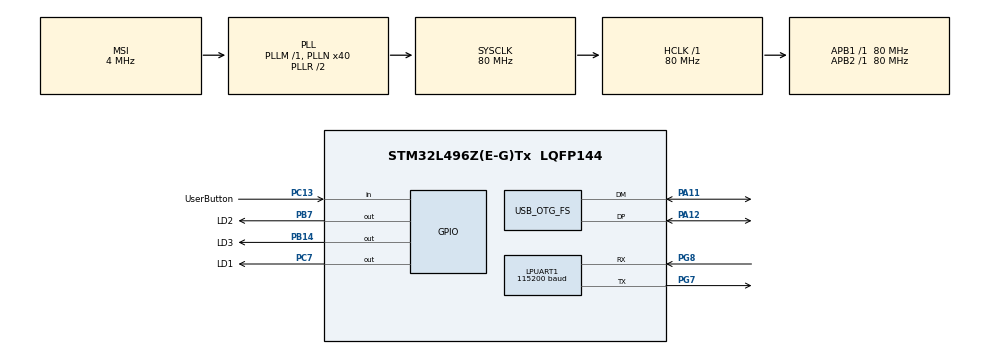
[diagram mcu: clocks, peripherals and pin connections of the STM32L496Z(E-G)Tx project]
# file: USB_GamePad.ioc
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LPUART1.AutoBaudRateEnableParam=UART_ADVFEATURE_AUTOBAUDRATE_DISABLE
LPUART1.BaudRate=115200
LPUART1.WordLength=UART_WORDLENGTH_8B
Mcu.Family=STM32L4
Mcu.Name=STM32L496Z(E-G)Tx
Mcu.Package=LQFP144
NVIC.OTG_FS_IRQn=true\:0\:0\:false\:false\:true\:false
NVIC.PriorityGroup=NVIC_PRIORITYGROUP_4
PA11.Mode=Device_Only
PA11.Signal=USB_OTG_FS_DM
PA12.Mode=Device_Only
PA12.Signal=USB_OTG_FS_DP
PA13\ (JTMS/SWDIO).Mode=Serial_Wire
PA13\ (JTMS/SWDIO).Signal=SYS_JTMS-SWDIO
PA14\ (JTCK/SWCLK).Mode=Serial_Wire
PA14\ (JTCK/SWCLK).Signal=SYS_JTCK-SWCLK
PB14.GPIO_Label=LD3
PB14.Signal=GPIO_Output
PB7.GPIO_Label=LD2
PB7.Signal=GPIO_Output
PC13.GPIO_Label=UserButton
PC13.Signal=GPIO_Input
PC7.GPIO_Label=LD1
PC7.Signal=GPIO_Output
PG7.Mode=Asynchronous
PG7.Signal=LPUART1_TX
PG8.Mode=Asynchronous
PG8.Signal=LPUART1_RX
PH0-OSC_IN\ (PH0).Mode=HSE-External-Clock-Source
PH0-OSC_IN\ (PH0).Signal=RCC_OSC_IN
ProjectManager.HeapSize=0x2000
ProjectManager.StackSize=0x2000
ProjectManager.TargetToolchain=MDK-ARM V5
RCC.ADCFreq_Value=48000000
RCC.AHBFreq_Value=80000000
RCC.APB1Freq_Value=80000000
RCC.APB1TimFreq_Value=80000000
RCC.APB2Freq_Value=80000000
RCC.APB2TimFreq_Value=80000000
RCC.CortexFreq_Value=80000000
RCC.HCLKFreq_Value=80000000
RCC.HSE_VALUE=8000000
RCC.HSI48_VALUE=48000000
RCC.HSI_VALUE=16000000
RCC.LSE_VALUE=32768
RCC.MSI_VALUE=4000000
RCC.PLLN=40
RCC.PLLSAI1N=24
RCC.SYSCLKFreq_VALUE=80000000
RCC.SYSCLKSource=RCC_SYSCLKSOURCE_PLLCLK
RCC.USBFreq_Value=48000000
RCC.VCOOutputFreq_Value=160000000
USB_DEVICE.CLASS_NAME_FS=CUSTOMHID
USB_DEVICE.VirtualMode=CustomHid
USB_DEVICE.VirtualModeFS=Custom_Hid_FS
USB_OTG_FS.VirtualMode=Device_Only
VP_USB_DEVICE_VS_USB_DEVICE_CUSTOM_HID_FS.Mode=CUSTOM_HID_FS
board=custom

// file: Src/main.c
/**
  ******************************************************************************
  * @file           : main.c
  * @brief          : Main program body
  ******************************************************************************
  * This notice applies to any and all portions of this file
  * that are not between comment pairs USER CODE BEGIN and
  * USER CODE END. Other portions of this file, whether
  * inserted by the user or by software development tools
  * are owned by their respective copyright owners.
  *
  * Copyright (c) 2018 STMicroelectronics International N.V.
  * All rights reserved.
  *
  * Redistribution and use in source and binary forms, with or without
  * modification, are permitted, provided that the following conditions are met:
  *
  * 1. Redistribution of source code must retain the above copyright notice,
  *    this list of conditions and the following disclaimer.
  * 2. Redistributions in binary form must reproduce the above copyright notice,
  *    this list of conditions and the following disclaimer in the documentation
  *    and/or other materials provided with the distribution.
  * 3. Neither the name of STMicroelectronics nor the names of other
  *    contributors to this software may be used to endorse or promote products
  *    derived from this software without specific written permission.
  * 4. This software, including modifications and/or derivative works of this
  *    software, must execute solely and exclusively on microcontroller or
  *    microprocessor devices manufactured by or for STMicroelectronics.
  * 5. Redistribution and use of this software other than as permitted under
  *    this license is void and will automatically terminate your rights under
  *    this license.
  *
  * THIS SOFTWARE IS PROVIDED BY STMICROELECTRONICS AND CONTRIBUTORS "AS IS"
  * AND ANY EXPRESS, IMPLIED OR STATUTORY WARRANTIES, INCLUDING, BUT NOT
  * LIMITED TO, THE IMPLIED WARRANTIES OF MERCHANTABILITY, FITNESS FOR A
  * PARTICULAR PURPOSE AND NON-INFRINGEMENT OF THIRD PARTY INTELLECTUAL PROPERTY
  * RIGHTS ARE DISCLAIMED TO THE FULLEST EXTENT PERMITTED BY LAW. IN NO EVENT
  * SHALL STMICROELECTRONICS OR CONTRIBUTORS BE LIABLE FOR ANY DIRECT, INDIRECT,
  * INCIDENTAL, SPECIAL, EXEMPLARY, OR CONSEQUENTIAL DAMAGES (INCLUDING, BUT NOT
  * LIMITED TO, PROCUREMENT OF SUBSTITUTE GOODS OR SERVICES; LOSS OF USE, DATA,
  * OR PROFITS; OR BUSINESS INTERRUPTION) HOWEVER CAUSED AND ON ANY THEORY OF
  * LIABILITY, WHETHER IN CONTRACT, STRICT LIABILITY, OR TORT (INCLUDING
  * NEGLIGENCE OR OTHERWISE) ARISING IN ANY WAY OUT OF THE USE OF THIS SOFTWARE,
  * EVEN IF ADVISED OF THE POSSIBILITY OF SUCH DAMAGE.
  *
  ******************************************************************************
  */
#include "main.h"
#include "stm32l4xx_hal.h"
#include "usart.h"
#include "usb_device.h"
#include "gpio.h"

/* USER CODE BEGIN PV */
/* Private variables ---------------------------------------------------------*/

/* USER CODE END PV */

void SystemClock_Config(void);

/* USER CODE BEGIN PFP */
/* Private function prototypes -----------------------------------------------*/

/* USER CODE END PFP */

/* USER CODE BEGIN 0 */
typedef enum {
	TM_USB_HIDDEVICE_Button_Released = 0x00, /*!< Button is not pressed */
	TM_USB_HIDDEVICE_Button_Pressed = 0x01   /*!< Button is pressed */
} TM_USB_HIDDEVICE_Button_t;
typedef struct {
	TM_USB_HIDDEVICE_Button_t Button1;  /*!< Game pad button 1 status. This parameter can be a value of @ref TM_USB_HIDDEVICE_Button_t enumeration */
	TM_USB_HIDDEVICE_Button_t Button2;  /*!< Game pad button 2 status. This parameter can be a value of @ref TM_USB_HIDDEVICE_Button_t enumeration */
	TM_USB_HIDDEVICE_Button_t Button3;  /*!< Game pad button 3 status. This parameter can be a value of @ref TM_USB_HIDDEVICE_Button_t enumeration */
	TM_USB_HIDDEVICE_Button_t Button4;  /*!< Game pad button 4 status. This parameter can be a value of @ref TM_USB_HIDDEVICE_Button_t enumeration */
	TM_USB_HIDDEVICE_Button_t Button5;  /*!< Game pad button 5 status. This parameter can be a value of @ref TM_USB_HIDDEVICE_Button_t enumeration */
	TM_USB_HIDDEVICE_Button_t Button6;  /*!< Game pad button 6 status. This parameter can be a value of @ref TM_USB_HIDDEVICE_Button_t enumeration */
	TM_USB_HIDDEVICE_Button_t Button7;  /*!< Game pad button 7 status. This parameter can be a value of @ref TM_USB_HIDDEVICE_Button_t enumeration */
	TM_USB_HIDDEVICE_Button_t Button8;  /*!< Game pad button 8 status. This parameter can be a value of @ref TM_USB_HIDDEVICE_Button_t enumeration */
	TM_USB_HIDDEVICE_Button_t Button9;  /*!< Game pad button 9 status. This parameter can be a value of @ref TM_USB_HIDDEVICE_Button_t enumeration */
	TM_USB_HIDDEVICE_Button_t Button10; /*!< Game pad button 10 status. This parameter can be a value of @ref TM_USB_HIDDEVICE_Button_t enumeration */
	TM_USB_HIDDEVICE_Button_t Button11; /*!< Game pad button 11 status. This parameter can be a value of @ref TM_USB_HIDDEVICE_Button_t enumeration */
	TM_USB_HIDDEVICE_Button_t Button12; /*!< Game pad button 12 status. This parameter can be a value of @ref TM_USB_HIDDEVICE_Button_t enumeration */

	int8_t XAxis;                   /*!< Left joystick X axis */
	int8_t YAxis;                   /*!< Left joystick Y axis */
	int8_t RotateZAxis;             /*!< Right joystick X axis */
	int8_t ZAxis;                   /*!< Right joystick Y axis */

	uint8_t Hat0;              /*!< "angle" is 0,45,90,135,180,225,270,315,-1 */
	uint8_t Hat1;
	uint8_t Hat2;
	uint8_t Hat3;

} TM_USB_HIDDEVICE_Gamepad_t;

int TM_USB_HIDDEVICE_GamepadSend(TM_USB_HIDDEVICE_Gamepad_t* Gamepad_Data)
{
	uint8_t buff[8];

	/* Buttons pressed, byte 1 */
	buff[0] = 0;
	buff[0] |= Gamepad_Data->Button1 	<< 0;	/* Bit 0 */
	buff[0] |= Gamepad_Data->Button2 	<< 1;	/* Bit 1 */
	buff[0] |= Gamepad_Data->Button3 	<< 2;	/* Bit 2 */
	buff[0] |= Gamepad_Data->Button4 	<< 3;	/* Bit 3 */
	buff[0] |= Gamepad_Data->Button5 	<< 4;	/* Bit 4 */
	buff[0] |= Gamepad_Data->Button6 	<< 5;	/* Bit 5 */
	buff[0] |= Gamepad_Data->Button7 	<< 6;	/* Bit 6 */
	buff[0] |= Gamepad_Data->Button8 	<< 7;	/* Bit 7 */

	/* Buttons pressed, byte 2 */
	buff[1] = 0;
	buff[1] |= Gamepad_Data->Button9 	  << 0;	/* Bit 0 */
	buff[1] |= Gamepad_Data->Button10 	<< 1;	/* Bit 1 */
	buff[1] |= Gamepad_Data->Button11 	<< 2;	/* Bit 2 */
	buff[1] |= Gamepad_Data->Button12 	<< 3;	/* Bit 3 */

	/* Left joystick*/
	buff[2] = Gamepad_Data->XAxis;
	buff[3] = Gamepad_Data->YAxis;

	/* Right joystick*/
	buff[4] = Gamepad_Data->ZAxis;
	buff[5] = Gamepad_Data->RotateZAxis;

	buff[6] = (Gamepad_Data->Hat1)<<4 + Gamepad_Data->Hat0;
	buff[7] = (Gamepad_Data->Hat3)<<4 + Gamepad_Data->Hat2;
	/* Send to USB gamepad data */
	USBD_CUSTOM_HID_SendReport(&hUsbDeviceFS, buff, 8);

	/* Return connected */
	return 0;
}

TM_USB_HIDDEVICE_Gamepad_t Gamepad_Data;

/*
		     |  bit7		|   bit6	 |	  bit5	|	   bit4	 |	  bit3	|	   bit2	 |   bit1	  |   bit0   |
------------------------------------------------------------------------------------------------
| byte0  |  Button8 | Button7  | Button6  |  Button5 | Button4  |  Button3 |  Button2 |  Button1 |
------------------------------------------------------------------------------------------------
| byte1  |                   Reserved                | Button12 |  Butto11 | Butto10  |  Butto9  |
------------------------------------------------------------------------------------------------
| byte2  |          XAxis                                                                        |
------------------------------------------------------------------------------------------------
| byte3  |         YAxis                                                                         |
------------------------------------------------------------------------------------------------
| byte4  |         ZAxis                                                                         |
------------------------------------------------------------------------------------------------
| byte5  |        RotateZAxis                                                                    |
------------------------------------------------------------------------------------------------
| byte6  |          |          |          |          |          |          |          |          |
------------------------------------------------------------------------------------------------
| byte7  |          |          |          |          |          |          |          |          |
------------------------------------------------------------------------------------------------
*/

/* USER CODE END 0 */

int main(void)
{

  /* MCU Configuration----------------------------------------------------------*/

  /* Reset of all peripherals, Initializes the Flash interface and the Systick. */
  HAL_Init();

  /* Configure the system clock */
  SystemClock_Config();

  /* Initialize all configured peripherals */
  MX_GPIO_Init();
  MX_LPUART1_UART_Init();
  MX_USB_DEVICE_Init();
  /* USER CODE BEGIN 2 */

	printf("\n\r UART Printf Example: retarget the C library printf function to the UART\n\r");

  /* USER CODE END 2 */

  /* Infinite loop */
  while (1)
  {

  /* USER CODE BEGIN 3 */

    //USBD_CUSTOM_HID_SendReport(&hUsbDeviceFS,  GamePad_Report, sizeof(GamePad_Report));

//		HAL_GPIO_WritePin(LD2_GPIO_Port,LD2_Pin, GPIO_PIN_SET);
//		HAL_Delay(50);
//		HAL_GPIO_WritePin(LD2_GPIO_Port,LD2_Pin, GPIO_PIN_RESET);
		HAL_Delay(500);
//		if(HAL_GPIO_ReadPin(UserButton_GPIO_Port, UserButton_Pin)==1)
//		{
//			HAL_GPIO_TogglePin(LD2_GPIO_Port,LD2_Pin);
//			Gamepad_Data.Button1=TM_USB_HIDDEVICE_Button_Pressed;

//			Gamepad_Data.Button3=TM_USB_HIDDEVICE_Button_Pressed;

//			Gamepad_Data.Button6=TM_USB_HIDDEVICE_Button_Pressed;

//			Gamepad_Data.Button8=TM_USB_HIDDEVICE_Button_Pressed;
//			Gamepad_Data.Button10=TM_USB_HIDDEVICE_Button_Pressed;
//			Gamepad_Data.Button12=TM_USB_HIDDEVICE_Button_Pressed;

			Gamepad_Data.ZAxis += 10;
			Gamepad_Data.XAxis+=10;
			Gamepad_Data.Hat0+=2;
			Gamepad_Data.Hat1+=2;
//			Gamepad_Data.Hat2+=3;
//			Gamepad_Data.Hat3+=4;
//		}
//		else
//		{
//			Gamepad_Data.Button1=TM_USB_HIDDEVICE_Button_Released;
//			Gamepad_Data.Button2=TM_USB_HIDDEVICE_Button_Released;
//			Gamepad_Data.Button3=TM_USB_HIDDEVICE_Button_Released;
//			Gamepad_Data.Button4=TM_USB_HIDDEVICE_Button_Released;
//			Gamepad_Data.Button5=TM_USB_HIDDEVICE_Button_Released;
//			Gamepad_Data.Button6=TM_USB_HIDDEVICE_Button_Released;
//			Gamepad_Data.Button7=TM_USB_HIDDEVICE_Button_Released;
//			Gamepad_Data.Button8=TM_USB_HIDDEVICE_Button_Released;
//			Gamepad_Data.Button10=TM_USB_HIDDEVICE_Button_Released;
//			Gamepad_Data.Button12=TM_USB_HIDDEVICE_Button_Released;

//		}

		TM_USB_HIDDEVICE_GamepadSend(&Gamepad_Data);
  }
  /* USER CODE END 3 */

}

void SystemClock_Config(void)
{

  RCC_OscInitTypeDef RCC_OscInitStruct;
  RCC_ClkInitTypeDef RCC_ClkInitStruct;
  RCC_PeriphCLKInitTypeDef PeriphClkInit;

    /**Initializes the CPU, AHB and APB busses clocks
    */
  RCC_OscInitStruct.OscillatorType = RCC_OSCILLATORTYPE_LSE|RCC_OSCILLATORTYPE_MSI;
  RCC_OscInitStruct.LSEState = RCC_LSE_OFF;
  RCC_OscInitStruct.MSIState = RCC_MSI_ON;
  RCC_OscInitStruct.MSICalibrationValue = 0;
  RCC_OscInitStruct.MSIClockRange = RCC_MSIRANGE_6;
  RCC_OscInitStruct.PLL.PLLState = RCC_PLL_ON;
  RCC_OscInitStruct.PLL.PLLSource = RCC_PLLSOURCE_MSI;
  RCC_OscInitStruct.PLL.PLLM = 1;
  RCC_OscInitStruct.PLL.PLLN = 40;
  RCC_OscInitStruct.PLL.PLLP = RCC_PLLP_DIV2;
  RCC_OscInitStruct.PLL.PLLQ = RCC_PLLQ_DIV2;
  RCC_OscInitStruct.PLL.PLLR = RCC_PLLR_DIV2;
  if (HAL_RCC_OscConfig(&RCC_OscInitStruct) != HAL_OK)
  {
    _Error_Handler(__FILE__, __LINE__);
  }

    /**Initializes the CPU, AHB and APB busses clocks
    */
  RCC_ClkInitStruct.ClockType = RCC_CLOCKTYPE_HCLK|RCC_CLOCKTYPE_SYSCLK
                              |RCC_CLOCKTYPE_PCLK1|RCC_CLOCKTYPE_PCLK2;
  RCC_ClkInitStruct.SYSCLKSource = RCC_SYSCLKSOURCE_PLLCLK;
  RCC_ClkInitStruct.AHBCLKDivider = RCC_SYSCLK_DIV1;
  RCC_ClkInitStruct.APB1CLKDivider = RCC_HCLK_DIV1;
  RCC_ClkInitStruct.APB2CLKDivider = RCC_HCLK_DIV1;

  if (HAL_RCC_ClockConfig(&RCC_ClkInitStruct, FLASH_LATENCY_4) != HAL_OK)
  {
    _Error_Handler(__FILE__, __LINE__);
  }

  PeriphClkInit.PeriphClockSelection = RCC_PERIPHCLK_LPUART1|RCC_PERIPHCLK_USB;
  PeriphClkInit.Lpuart1ClockSelection = RCC_LPUART1CLKSOURCE_PCLK1;
  PeriphClkInit.UsbClockSelection = RCC_USBCLKSOURCE_PLLSAI1;
  PeriphClkInit.PLLSAI1.PLLSAI1Source = RCC_PLLSOURCE_MSI;
  PeriphClkInit.PLLSAI1.PLLSAI1M = 1;
  PeriphClkInit.PLLSAI1.PLLSAI1N = 24;
  PeriphClkInit.PLLSAI1.PLLSAI1P = RCC_PLLP_DIV2;
  PeriphClkInit.PLLSAI1.PLLSAI1Q = RCC_PLLQ_DIV2;
  PeriphClkInit.PLLSAI1.PLLSAI1R = RCC_PLLR_DIV2;
  PeriphClkInit.PLLSAI1.PLLSAI1ClockOut = RCC_PLLSAI1_48M2CLK;
  if (HAL_RCCEx_PeriphCLKConfig(&PeriphClkInit) != HAL_OK)
  {
    _Error_Handler(__FILE__, __LINE__);
  }

    /**Configure the main internal regulator output voltage
    */
  if (HAL_PWREx_ControlVoltageScaling(PWR_REGULATOR_VOLTAGE_SCALE1) != HAL_OK)
  {
    _Error_Handler(__FILE__, __LINE__);
  }

    /**Configure the Systick interrupt time
    */
  HAL_SYSTICK_Config(HAL_RCC_GetHCLKFreq()/1000);

    /**Configure the Systick
    */
  HAL_SYSTICK_CLKSourceConfig(SYSTICK_CLKSOURCE_HCLK);

    /**Enable MSI Auto calibration
    */
  HAL_RCCEx_EnableMSIPLLMode();

  /* SysTick_IRQn interrupt configuration */
  HAL_NVIC_SetPriority(SysTick_IRQn, 0, 0);
}

void _Error_Handler(char *file, int line)
{
  while(1)
  {
  }
}

/************************ (C) COPYRIGHT STMicroelectronics *****END OF FILE****/
